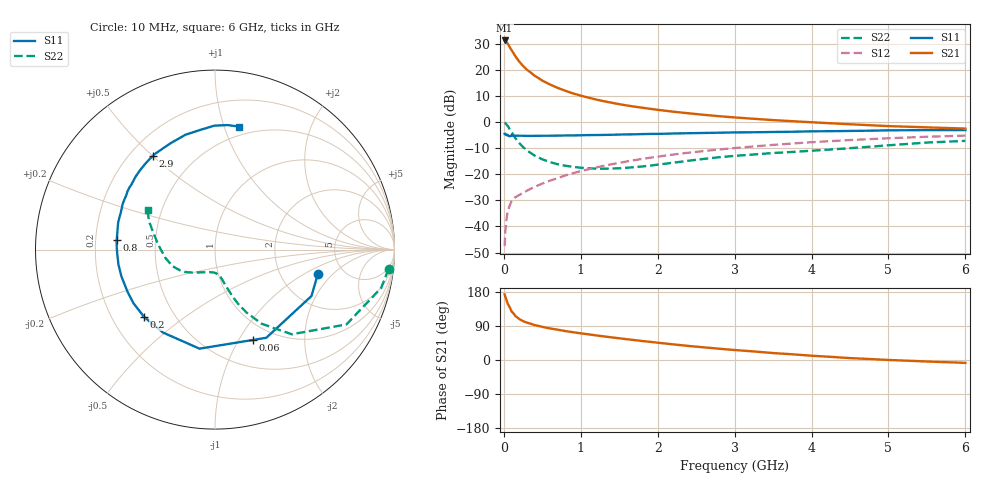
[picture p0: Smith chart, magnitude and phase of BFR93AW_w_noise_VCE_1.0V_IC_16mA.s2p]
! (c) 2017  Infineon Technologies AG, Munich
! Infineon Technologies  Discrete & RF Semiconductors
! BFR93AW
! VCE =  1.0 V,  IC =  16 mA
! Common Emitter S-Parameters:  Jan 2017
# GHz  S  MA  R  50
!  f  S11  S21  S12  S22
! GHz  MAG  ANG  MAG  ANG  MAG  ANG  MAG  ANG
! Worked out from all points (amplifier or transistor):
!   77 points, 10 MHz to 6 GHz, reference 50 ohm
!   highest |S21| = 31.2 dB at 10 MHz (marker M1)
!   |S21| within 3 dB of that: start of sweep to 85.41 MHz
!   unconditionally stable (mu >= 1): 615.6 MHz to 2.506 GHz
!   at 130 MHz: K = 0.43, MSG = 27.7 dB, |S12| = -29.4 dB
!   at 2.2 GHz: K = 1.02, MAG = 7.3 dB, |S12| = -12.5 dB
!   at 6 GHz: K = 0.95, MSG = 1.3 dB, |S12| = -5.2 dB
!   lowest NFmin = 1.41 dB at 450 MHz
!   S11 on the Smith chart (normalised r, x): 10 MHz: 3.27, -1.35; 60 MHz: 0.80, -1.15; 200 MHz: 0.34, -0.36; 800 MHz: 0.29, +0.04; 2.9 GHz: 0.29, +0.50; 6 GHz: 0.42, +1.12
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0.01  0.5891 -13.2  36.17 173.1  0.0042 84.9  0.9733 -6.4
0.02  0.5966 -25.7  35.84 166.5  0.0083 80.0  0.9501 -13.0
0.05  0.5684 -59.8  31.52 148.4  0.0195 66.6  0.8429 -29.6
0.06  0.546 -67.2  29.7 145.2  0.0216 63.9  0.7963 -32.5
0.1  0.5587 -98.9  23.68 128.1  0.0303 57.0  0.6369 -47.8
0.15  0.5454 -122.1  18.02 116.1  0.0364 51.7  0.4887 -57.8
0.2  0.5449 -136.5  14.28 108.2  0.0399 51.6  0.394 -63.3
0.25  0.5437 -146.6  11.78 102.5  0.0443 51.5  0.3302 -66.8
0.3  0.5412 -153.9  9.977 98.5  0.0482 52.8  0.2835 -69.2
0.4  0.5422 -163.8  7.653 92.1  0.057 55.6  0.2265 -72.3
0.5  0.5443 -171.1  6.178 87.4  0.066 58.5  0.1925 -74.7
0.6  0.5448 -176.7  5.196 83.3  0.0753 60.1  0.1705 -76.7
0.7  0.5476 178.8  4.474 79.9  0.0841 62.0  0.155 -78.7
0.8  0.5505 174.6  3.937 76.3  0.0949 62.7  0.1452 -81.2
1.1  0.5601 164.4  2.912 67.7  0.1242 63.5  0.13 -89.8
1.5  0.5737 153.8  2.186 57.3  0.1652 62.4  0.1299 -104.8
2.1  0.5951 139.6  1.636 43.5  0.227 58.1  0.1588 -126.6
2.9  0.6258 123.7  1.252 28.0  0.3065 50.8  0.2176 -146.3
3.1  0.6309 120.0  1.19 24.8  0.3255 48.7  0.2297 -150.6
4.1  0.6619 103.0  0.968 10.1  0.4171 37.8  0.2871 -174.0
5.1  0.6913 89.1  0.823 -0.7  0.4933 26.5  0.3659 162.7
6  0.6984 78.9  0.746 -7.6  0.5476 16.5  0.4341 149.5
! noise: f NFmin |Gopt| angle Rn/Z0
0.45  1.41  0.12  146  0.13
0.9  1.69  0.23  168  0.14
1.9  2.69  0.47  -141  0.21
2.4  3.31  0.54  -127  0.41
